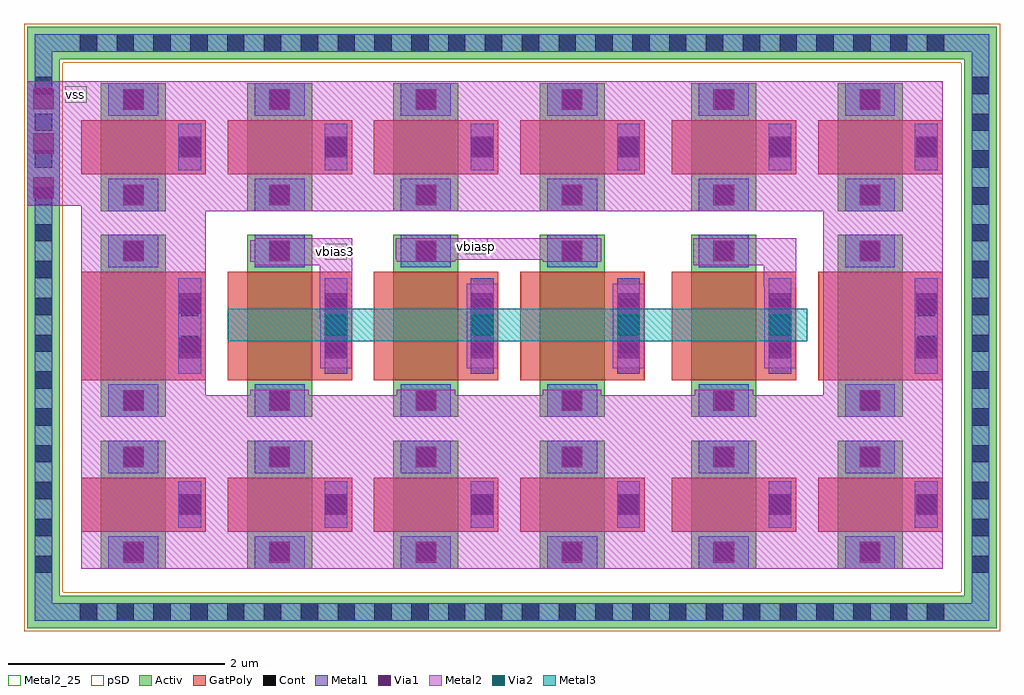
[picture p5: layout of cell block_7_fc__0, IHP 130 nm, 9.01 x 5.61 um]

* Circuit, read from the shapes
.subckt block_7_fc__0 vbias3 vbiasp vss
XM1 vss vss vss vss sg13_lv_nmos w=0.6u l=0.5u m=12
XM2 vss vss vss vss sg13_lv_nmos w=0.6u l=1u m=2
XM3 vbias3 vbias3 vss vss sg13_lv_nmos w=0.6u l=1u m=2
XM4 vbiasp vbias3 vss vss sg13_lv_nmos w=0.6u l=1u m=2
.ends

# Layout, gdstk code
from math import pi, radians
import gdstk
lib = gdstk.Library(unit=1e-6, precision=1e-09)
def R(c, l, rs):  # rectangles x0, y0, x1, y1
    for r in rs: c.add(gdstk.rectangle(r[:2], r[2:], *l))
def A(c, l, x, y, w, h, nx, ny, dx, dy):  # array of equal rectangles
    R(c, l, [(x+i*dx, y+j*dy, x+i*dx+w, y+j*dy+h) for i in range(nx) for j in range(ny)])
Activ = (1, 0)
GatPoly = (5, 0)
Cont = (6, 0)
Metal1 = (8, 0)
Metal2 = (10, 0)
Metal2_25 = (10, 25)
pSD = (14, 0)
Via1 = (19, 0)
Via2 = (29, 0)
Metal3 = (30, 0)

sg13_lv_nmos_37z7vp__0 = lib.new_cell('sg13_lv_nmos_37Z7VP__0')
R(sg13_lv_nmos_37z7vp__0, Activ, [(-0.84,-0.395,0.84,0.205)])
R(sg13_lv_nmos_37z7vp__0, GatPoly, [(-0.5,-0.575,0.5,0.575)])
R(sg13_lv_nmos_37z7vp__0, Cont, [(-0.77,-0.175,-0.61,-0.015), (0.61,-0.175,0.77,-0.015), (-0.25,0.345,-0.09,0.505), (0.09,0.345,0.25,0.505)])
R(sg13_lv_nmos_37z7vp__0, Metal1, [(-0.84,-0.325,-0.54,0.135), (0.54,-0.325,0.84,0.135), (-0.44,0.32,0.44,0.53)])
R(sg13_lv_nmos_37z7vp__0, Metal2, [(-0.79,-0.365,-0.59,0.175), (0.59,-0.365,0.79,0.175), (-0.39,0.28,0.39,0.57)])
R(sg13_lv_nmos_37z7vp__0, Via1, [(-0.785,-0.19,-0.595,0), (0.595,-0.19,0.785,0), (-0.3,0.33,-0.11,0.52), (0.11,0.33,0.3,0.52)])
sg13_lv_nmos_37z7vp__0.add(gdstk.Label('D', (-0.69,-0.095), layer=8, texttype=25))
sg13_lv_nmos_37z7vp__0.add(gdstk.Label('S', (0.69,-0.095), layer=8, texttype=25))
sg13_lv_nmos_37z7vp__0.add(gdstk.Label('G', (0,0.425), layer=8, texttype=25))

sg13_lv_nmos_a7gmyb__0 = lib.new_cell('sg13_lv_nmos_A7GMYB__0')
R(sg13_lv_nmos_a7gmyb__0, Activ, [(-0.59,-0.395,0.59,0.205)])
R(sg13_lv_nmos_a7gmyb__0, GatPoly, [(-0.25,-0.575,0.25,0.575)])
R(sg13_lv_nmos_a7gmyb__0, Cont, [(-0.52,-0.175,-0.36,-0.015), (0.36,-0.175,0.52,-0.015), (-0.08,0.345,0.08,0.505)])
R(sg13_lv_nmos_a7gmyb__0, Metal1, [(-0.59,-0.325,-0.29,0.135), (0.29,-0.325,0.59,0.135), (-0.215,0.32,0.215,0.53)])
R(sg13_lv_nmos_a7gmyb__0, Metal2, [(-0.54,-0.365,-0.34,0.175), (0.34,-0.365,0.54,0.175), (-0.14,0.28,0.14,0.57)])
R(sg13_lv_nmos_a7gmyb__0, Via1, [(-0.535,-0.19,-0.345,0), (0.345,-0.19,0.535,0), (-0.095,0.33,0.095,0.52)])
sg13_lv_nmos_a7gmyb__0.add(gdstk.Label('D', (-0.44,-0.095), layer=8, texttype=25))
sg13_lv_nmos_a7gmyb__0.add(gdstk.Label('S', (0.44,-0.095), layer=8, texttype=25))
sg13_lv_nmos_a7gmyb__0.add(gdstk.Label('G', (0,0.425), layer=8, texttype=25))

sg13_lv_nmos_blz7v5__0 = lib.new_cell('sg13_lv_nmos_BLZ7V5__0')
R(sg13_lv_nmos_blz7v5__0, Activ, [(-0.84,-0.205,0.84,0.395)])
R(sg13_lv_nmos_blz7v5__0, GatPoly, [(-0.5,-0.575,0.5,0.575)])
R(sg13_lv_nmos_blz7v5__0, Cont, [(-0.25,-0.505,-0.09,-0.345), (0.09,-0.505,0.25,-0.345), (-0.77,0.015,-0.61,0.175), (0.61,0.015,0.77,0.175)])
R(sg13_lv_nmos_blz7v5__0, Metal1, [(-0.44,-0.53,0.44,-0.32), (-0.84,-0.135,-0.54,0.325), (0.54,-0.135,0.84,0.325)])
R(sg13_lv_nmos_blz7v5__0, Metal2, [(-0.39,-0.57,0.39,-0.28), (-0.79,-0.175,-0.59,0.365), (0.59,-0.175,0.79,0.365)])
R(sg13_lv_nmos_blz7v5__0, Via1, [(-0.3,-0.52,-0.11,-0.33), (0.11,-0.52,0.3,-0.33), (-0.785,0,-0.595,0.19), (0.595,0,0.785,0.19)])
sg13_lv_nmos_blz7v5__0.add(gdstk.Label('D', (-0.69,0.095), layer=8, texttype=25))
sg13_lv_nmos_blz7v5__0.add(gdstk.Label('S', (0.69,0.095), layer=8, texttype=25))
sg13_lv_nmos_blz7v5__0.add(gdstk.Label('G', (0,-0.425), layer=8, texttype=25))

block_7_fc__0 = lib.new_cell('block_7_fc__0')
R(block_7_fc__0, Activ, [(-0.85,-1.85,8.1,-1.55), (-0.85,-1.55,-0.55,3.4), (7.8,-1.55,8.1,3.4), (-0.85,3.4,8.1,3.7)])
A(block_7_fc__0, Cont, -0.365, -1.78, 0.16, 0.16, 24, 2, 0.34, 5.25)
A(block_7_fc__0, Cont, -0.78, -1.34, 0.16, 0.16, 1, 14, 0, 0.34)
A(block_7_fc__0, Cont, 7.87, -1.34, 0.16, 0.16, 1, 14, 0, 0.34)
R(block_7_fc__0, Metal1, [(-0.78,-1.78,8.03,-1.62), (-0.78,-1.62,-0.62,2.05), (7.87,-1.62,8.03,3.47), (-0.85,2.05,-0.55,3.2), (-0.78,3.2,-0.62,3.47), (-0.78,3.47,8.03,3.63)])
R(block_7_fc__0, Metal2, [(-0.35,-1.3,7.6,0.3), (-0.35,0.3,0.8,2), (6.5,0.3,7.6,2), (1.9,0.85,2.1,1), (3.25,0.85,3.45,1.05), (4.6,0.85,4.8,1.05), (6,0.85,6.2,1.05), (1.85,1,2.15,1.5), (5.95,1.3,6.25,1.5), (1.25,1.5,2.15,1.75), (5.3,1.5,6.25,1.75), (2.55,1.55,4.45,1.75), (-0.35,2,7.6,2.05), (-0.85,2.05,7.6,3.2)])
R(block_7_fc__0, Metal2_25, [(1.9,1.55,2.1,1.7), (3.2,1.6,3.4,1.75), (-0.5,3,-0.3,3.15)])
R(block_7_fc__0, pSD, [(-0.88,-1.88,8.13,-1.52), (-0.88,-1.52,-0.52,3.37), (7.77,-1.52,8.13,3.37), (-0.88,3.37,8.13,3.73)])
A(block_7_fc__0, Via1, -0.795, 2.12, 0.19, 0.19, 1, 3, 0, 0.41)
A(block_7_fc__0, Via2, 1.905, 0.855, 0.19, 0.19, 3, 1, 1.35, 0)
R(block_7_fc__0, Via2, [(6.005,0.855,6.195,1.045)])
R(block_7_fc__0, Metal3, [(1,0.8,6.35,1.1)])
block_7_fc__0.add(gdstk.Reference(sg13_lv_nmos_37z7vp__0, (0.225,0.94), rotation=3*pi/2))
block_7_fc__0.add(gdstk.Reference(sg13_lv_nmos_a7gmyb__0, (0.225,-0.71), rotation=3*pi/2))
block_7_fc__0.add(gdstk.Reference(sg13_lv_nmos_a7gmyb__0, (1.575,-0.71), rotation=3*pi/2))
block_7_fc__0.add(gdstk.Reference(sg13_lv_nmos_blz7v5__0, (1.575,0.94), rotation=3*pi/2, x_reflection=True))
block_7_fc__0.add(gdstk.Reference(sg13_lv_nmos_37z7vp__0, (2.925,0.94), rotation=3*pi/2))
block_7_fc__0.add(gdstk.Reference(sg13_lv_nmos_a7gmyb__0, (2.925,-0.71), rotation=3*pi/2))
block_7_fc__0.add(gdstk.Reference(sg13_lv_nmos_a7gmyb__0, (4.275,-0.71), rotation=3*pi/2))
block_7_fc__0.add(gdstk.Reference(sg13_lv_nmos_blz7v5__0, (4.275,0.94), rotation=3*pi/2, x_reflection=True))
block_7_fc__0.add(gdstk.Reference(sg13_lv_nmos_37z7vp__0, (5.675,0.94), rotation=3*pi/2))
block_7_fc__0.add(gdstk.Reference(sg13_lv_nmos_a7gmyb__0, (5.675,-0.71), rotation=3*pi/2))
block_7_fc__0.add(gdstk.Reference(sg13_lv_nmos_a7gmyb__0, (7.025,-0.71), rotation=3*pi/2))
block_7_fc__0.add(gdstk.Reference(sg13_lv_nmos_blz7v5__0, (7.025,0.94), rotation=3*pi/2, x_reflection=True))
block_7_fc__0.add(gdstk.Reference(sg13_lv_nmos_a7gmyb__0, (0.225,2.59), rotation=3*pi/2))
block_7_fc__0.add(gdstk.Reference(sg13_lv_nmos_a7gmyb__0, (1.575,2.59), rotation=3*pi/2))
block_7_fc__0.add(gdstk.Reference(sg13_lv_nmos_a7gmyb__0, (2.925,2.59), rotation=3*pi/2))
block_7_fc__0.add(gdstk.Reference(sg13_lv_nmos_a7gmyb__0, (4.275,2.59), rotation=3*pi/2))
block_7_fc__0.add(gdstk.Reference(sg13_lv_nmos_a7gmyb__0, (5.675,2.59), rotation=3*pi/2))
block_7_fc__0.add(gdstk.Reference(sg13_lv_nmos_a7gmyb__0, (7.025,2.59), rotation=3*pi/2))
block_7_fc__0.add(gdstk.Label('vbias3', (2,1.625), layer=10, texttype=25))
block_7_fc__0.add(gdstk.Label('vbiasp', (3.3,1.675), layer=10, texttype=25))
block_7_fc__0.add(gdstk.Label('vss', (-0.4,3.075), layer=10, texttype=25))

lib.write_gds('block_7_fc__0.gds')
